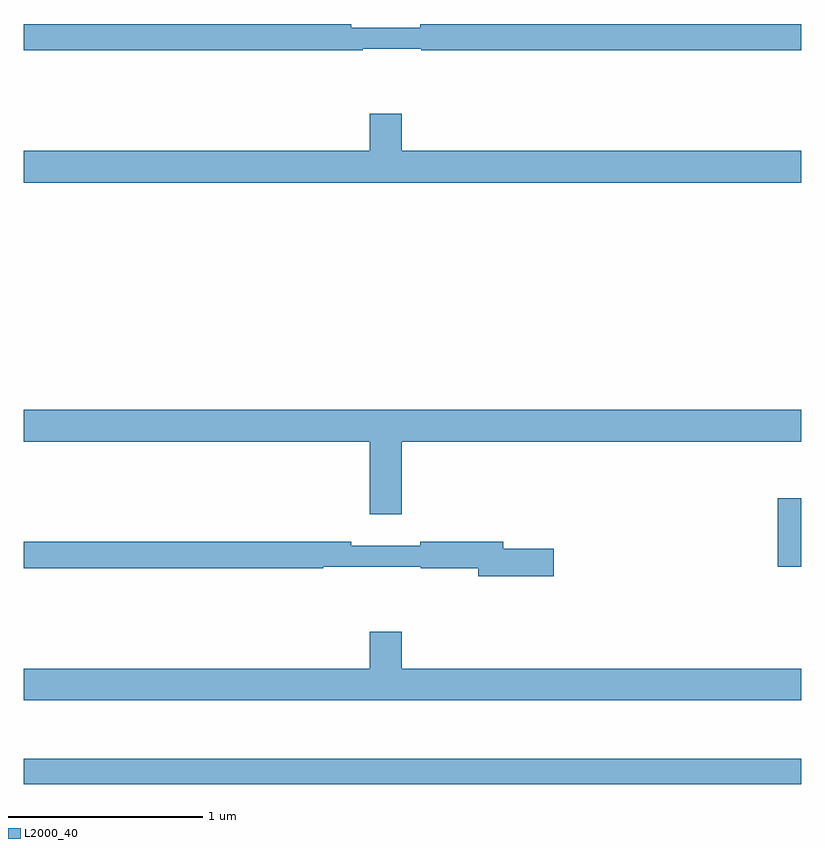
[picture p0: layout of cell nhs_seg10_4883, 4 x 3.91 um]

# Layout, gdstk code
import gdstk
lib = gdstk.Library(unit=1e-6, precision=1e-09)
def R(c, l, rs):  # rectangles x0, y0, x1, y1
    for r in rs: c.add(gdstk.rectangle(r[:2], r[2:], *l))
def P(c, l, *ps):  # polygons
    for p in ps: c.add(gdstk.Polygon(p, *l))
L2000_40 = (2000, 40)

nhs_seg10_4883 = lib.new_cell('nhs_seg10_4883')
R(nhs_seg10_4883, L2000_40, [(391,1322.53,395,1322.659), (394.88,1323.647,395,1324)])
P(nhs_seg10_4883, L2000_40, [(392.745,1326.312),(393.045,1326.312),(393.045,1326.304),(395,1326.304),(395,1326.44),(393.04,1326.44),(393.04,1326.421),(392.684,1326.421),(392.684,1326.44),(391,1326.44),(391,1326.304),(392.745,1326.304)],
  [(395,1325.788),(392.944,1325.788),(392.944,1325.977),(392.78,1325.977),(392.78,1325.788),(391,1325.788),(391,1325.624),(395,1325.624)],
  [(392.944,1324.292),(395,1324.292),(395,1324.456),(391,1324.456),(391,1324.292),(392.78,1324.292),(392.78,1323.918),(392.944,1323.918)],
  [(393.727,1323.74),(393.466,1323.74),(393.466,1323.776),(393.04,1323.776),(393.04,1323.757),(392.684,1323.757),(392.684,1323.776),(391,1323.776),(391,1323.64),(392.542,1323.64),(392.542,1323.648),(393.042,1323.648),(393.042,1323.64),(393.338,1323.64),(393.338,1323.598),(393.727,1323.598)],
  [(395,1323.124),(392.944,1323.124),(392.944,1323.313),(392.78,1323.313),(392.78,1323.124),(391,1323.124),(391,1322.96),(395,1322.96)])

lib.write_gds('nhs_seg10_4883.gds')
